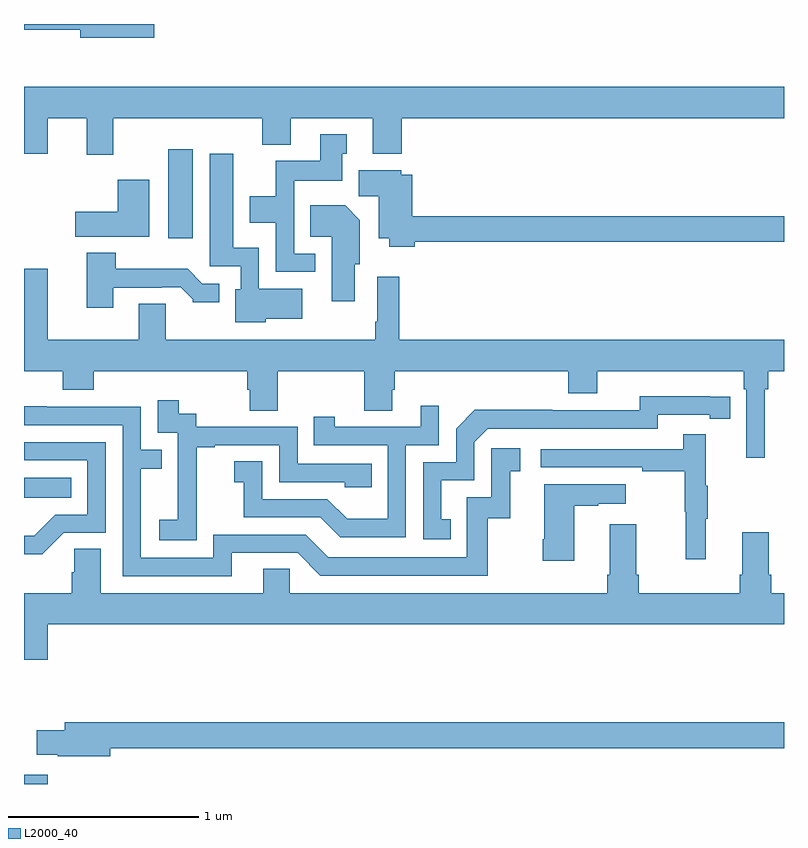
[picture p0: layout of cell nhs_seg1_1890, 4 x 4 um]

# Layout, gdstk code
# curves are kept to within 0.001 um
import gdstk
lib = gdstk.Library(unit=1e-6, precision=1e-09)
def R(c, l, rs):  # rectangles x0, y0, x1, y1
    for r in rs: c.add(gdstk.rectangle(r[:2], r[2:], *l))
def P(c, l, *ps):  # polygons
    for p in ps: c.add(gdstk.Polygon(p, *l))
L2000_40 = (2000, 40)

nhs_seg1_1890 = lib.new_cell('nhs_seg1_1890')
R(nhs_seg1_1890, L2000_40, [(213,576.199,213.124,576.247), (213,577.706,213.248,577.81), (213.758,579.072,213.889,579.541)])
P(nhs_seg1_1890, L2000_40, [(213.685,580.199),(213,580.199),(213,580.17),(213.296,580.17),(213.296,580.127),(213.685,580.127)],
  [(213.469,579.704),(214.253,579.704),(214.253,579.563),(214.405,579.563),(214.405,579.704),(214.835,579.704),(214.835,579.515),(214.988,579.515),(214.988,579.704),(217,579.704),(217,579.868),(213,579.868),(213,579.516),(213.124,579.516),(213.124,579.704),(213.329,579.704),(213.329,579.51),(213.469,579.51)],
  [(214.534,578.991),(214.422,578.991),(214.422,579.374),(214.675,579.374),(214.675,579.516),(214.699,579.516),(214.699,579.619),(214.559,579.619),(214.559,579.478),(214.324,579.478),(214.324,579.292),(214.187,579.292),(214.187,579.152),(214.326,579.152),(214.326,578.895),(214.534,578.895)],
  [(214.272,578.648),(214.465,578.648),(214.465,578.806),(214.236,578.806),(214.236,579.022),(214.102,579.022),(214.102,579.517),(213.977,579.517),(213.977,578.925),(214.14,578.925),(214.14,578.802),(214.112,578.802),(214.112,578.63),(214.272,578.63)],
  [(215.057,579.052),(217,579.052),(217,579.188),(215.044,579.188),(215.044,579.406),(214.986,579.406),(214.986,579.43),(214.763,579.43),(214.763,579.292),(214.868,579.292),(214.868,579.071),(214.922,579.071),(214.922,579.026),(215.057,579.026)],
  [(213.658,579.379),(213.494,579.379),(213.494,579.21),(213.27,579.21),(213.27,579.08),(213.658,579.08)],
  [(214.741,578.934),(214.768,578.934),(214.768,579.166),(214.69,579.244),(214.507,579.244),(214.507,579.08),(214.619,579.08),(214.619,578.739),(214.741,578.739)],
  [(213.469,578.811),(213.725,578.811),(213.725,578.814),(213.824,578.814),(213.888,578.75),(213.888,578.735),(214.027,578.735),(214.027,578.832),(213.939,578.832),(213.861,578.911),(213.482,578.911),(213.482,578.995),(213.329,578.995),(213.329,578.706),(213.469,578.706)],
  [(216.898,578.276),(216.917,578.276),(216.917,578.372),(217,578.372),(217,578.536),(214.976,578.536),(214.976,578.869),(214.86,578.869),(214.86,578.632),(214.848,578.632),(214.848,578.536),(213.745,578.536),(213.745,578.726),(213.605,578.726),(213.605,578.536),(213.124,578.536),(213.124,578.911),(213,578.911),(213,578.372),(213.203,578.372),(213.203,578.273),(213.368,578.273),(213.368,578.372),(214.175,578.372),(214.175,578.274),(214.187,578.274),(214.187,578.164),(214.335,578.164),(214.335,578.372),(214.792,578.372),(214.792,578.164),(214.939,578.164),(214.939,578.274),(214.952,578.274),(214.952,578.372),(215.864,578.372),(215.864,578.255),(216.016,578.255),(216.016,578.372),(216.788,578.372),(216.788,578.276),(216.801,578.276),(216.801,577.917),(216.898,577.917)],
  [(215.246,577.593),(215.197,577.593),(215.197,577.797),(215.37,577.797),(215.37,577.998),(215.442,578.07),(216.336,578.07),(216.336,578.142),(216.608,578.142),(216.608,578.122),(216.716,578.122),(216.716,578.238),(216.24,578.239),(216.24,578.166),(215.78,578.166),(215.78,578.168),(215.372,578.168),(215.274,578.07),(215.274,577.893),(215.1,577.893),(215.1,577.488),(215.246,577.488)],
  [(213.909,577.687),(213.908,577.687),(213.908,577.971),(214.003,577.971),(214.003,577.983),(214.344,577.983),(214.344,577.788),(214.689,577.788),(214.689,577.761),(214.829,577.761),(214.829,577.884),(214.44,577.884),(214.44,578.079),(213.906,578.079),(213.906,578.148),(213.814,578.148),(213.814,578.218),(213.705,578.218),(213.705,578.049),(213.81,578.049),(213.81,577.82),(213.809,577.82),(213.809,577.591),(213.711,577.591),(213.711,577.481),(213.909,577.481)],
  [(215.01,577.983),(215.184,577.983),(215.184,578.191),(215.087,578.191),(215.087,578.079),(214.636,578.079),(214.636,578.131),(214.525,578.131),(214.525,577.983),(214.914,577.983),(214.914,577.594),(214.7,577.594),(214.596,577.698),(214.254,577.698),(214.254,577.897),(214.107,577.897),(214.107,577.787),(214.156,577.787),(214.156,577.602),(214.559,577.602),(214.664,577.497),(215.01,577.497)],
  [(214.093,577.416),(214.44,577.416),(214.56,577.296),(215.44,577.296),(215.44,577.599),(215.558,577.599),(215.558,577.845),(215.611,577.845),(215.611,577.966),(215.46,577.966),(215.46,577.707),(215.331,577.707),(215.331,577.392),(214.602,577.392),(214.482,577.512),(213.996,577.512),(213.996,577.389),(213.615,577.389),(213.615,577.858),(213.725,577.858),(213.725,577.959),(213.615,577.959),(213.615,578.184),(213.119,578.184),(213.119,578.186),(213,578.186),(213,578.088),(213.519,578.088),(213.519,577.293),(214.093,577.293)],
  [(216.587,577.595),(216.598,577.595),(216.598,577.769),(216.587,577.769),(216.587,578.041),(216.469,578.041),(216.469,577.962),(215.721,577.962),(215.721,577.866),(216.253,577.866),(216.253,577.846),(216.477,577.846),(216.477,577.632),(216.484,577.632),(216.484,577.383),(216.587,577.383)],
  [(213.21,577.521),(213.429,577.521),(213.429,577.998),(213,577.998),(213,577.902),(213.333,577.902),(213.333,577.617),(213.164,577.617),(213.053,577.506),(213,577.506),(213,577.409),(213.097,577.409)],
  [(215.896,577.663),(216.023,577.663),(216.023,577.673),(216.166,577.673),(216.166,577.777),(215.738,577.777),(215.738,577.486),(215.731,577.486),(215.731,577.374),(215.896,577.374)],
  [(217,577.204),(216.932,577.204),(216.932,577.3),(216.919,577.3),(216.919,577.525),(216.779,577.525),(216.779,577.3),(216.767,577.3),(216.767,577.204),(216.236,577.204),(216.236,577.3),(216.223,577.3),(216.223,577.567),(216.083,577.567),(216.083,577.3),(216.071,577.3),(216.071,577.204),(214.398,577.204),(214.398,577.331),(214.259,577.331),(214.259,577.204),(213.403,577.204),(213.403,577.436),(213.264,577.436),(213.264,577.313),(213.251,577.313),(213.251,577.204),(213,577.204),(213,576.852),(213.124,576.852),(213.124,577.04),(217,577.04)],
  [(213.454,576.388),(217,576.388),(217,576.524),(213.215,576.524),(213.215,576.483),(213.066,576.483),(213.066,576.353),(213.178,576.353),(213.178,576.346),(213.454,576.346)])

lib.write_gds('nhs_seg1_1890.gds')
